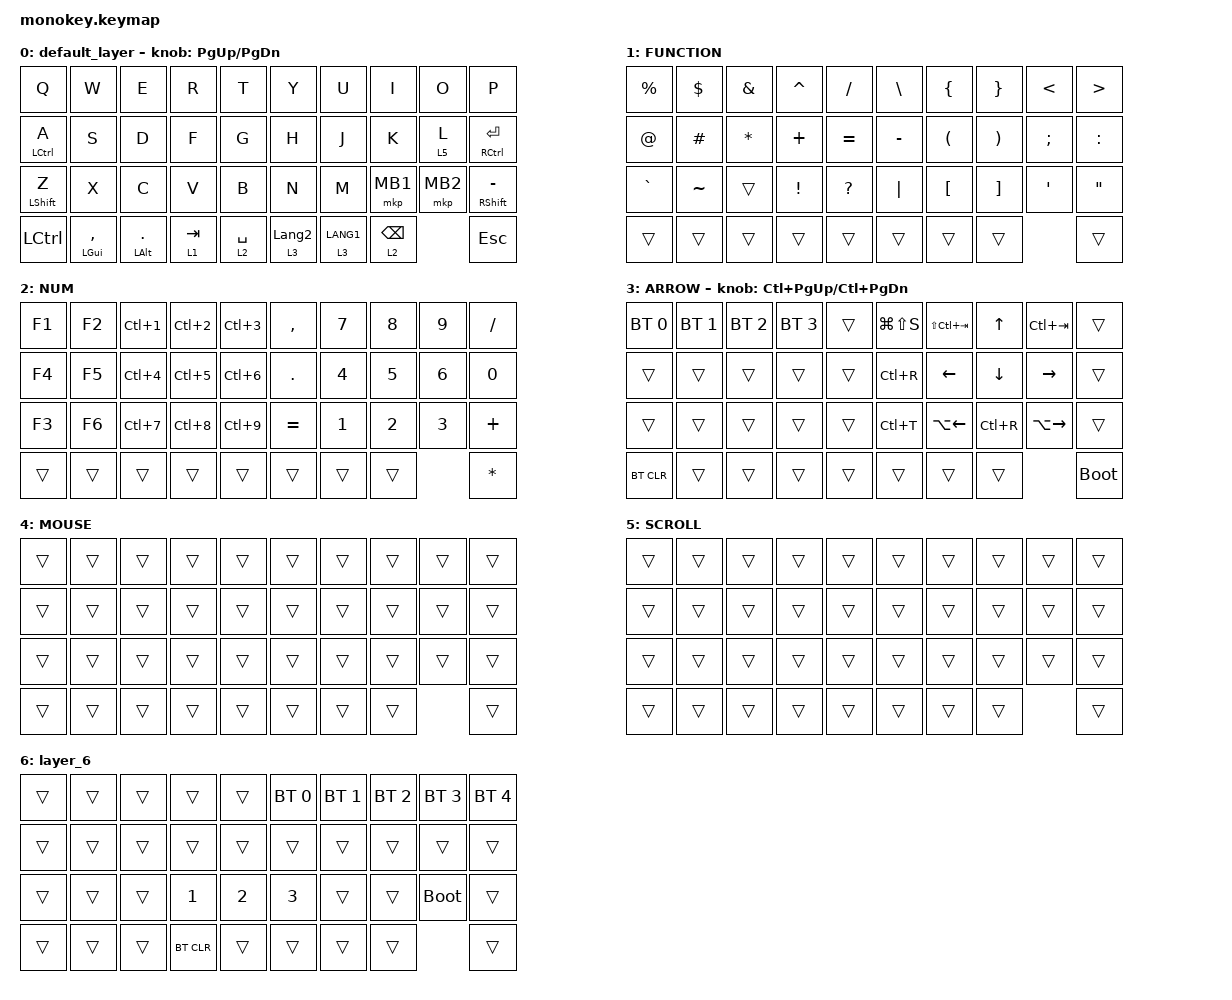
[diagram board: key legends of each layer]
#include <dt-bindings/zmk/mouse.h>
#include <behaviors.dtsi>
#include <dt-bindings/zmk/bt.h>
#include <dt-bindings/zmk/keys.h>
#include <dt-bindings/zmk/pointing.h>

#define MOUSE 4
#define SCROLL 5
#define NUM 6

&mt {
    flavor = "balanced";
    quick-tap-ms = <0>;
};

/ {
    combos {
        compatible = "zmk,combos";

        tab {
            bindings = <&kp TAB>;
            key-positions = <11 12>;
        };

        shift_tab {
            bindings = <&kp LS(TAB)>;
            key-positions = <12 13>;
        };

        muhennkann {
            bindings = <&to_layer_0 INT_MUHENKAN>;
            key-positions = <11 10>;
        };

        double_quotation {
            bindings = <&kp DOUBLE_QUOTES>;
            key-positions = <20 21>;
        };

        eq {
            bindings = <&kp EQUAL>;
            key-positions = <24 25>;
        };
    };

    macros {
        to_layer_0: to_layer_0 {
            compatible = "zmk,behavior-macro-one-param";
            #binding-cells = <1>;
            bindings = <&to 0 &macro_param_1to1 &kp MACRO_PLACEHOLDER>;
            label = "TO_LAYER_0";
        };
    };

    behaviors {
        lt_to_layer_0: lt_to_layer_0 {
            compatible = "zmk,behavior-hold-tap";
            label = "LAYER_TAP_TO_0";
            bindings = <&mo>, <&to_layer_0>;

            #binding-cells = <2>;
            tapping-term-ms = <200>;
        };
    };

    keymap {
        compatible = "zmk,keymap";

        default_layer {
            bindings = <
&kp Q             &kp W               &kp E                &kp R      &kp T                            &kp Y                   &kp U            &kp I     &kp O               &kp P
&mt LCTRL A       &kp S               &kp D                &kp F      &kp G                            &kp H                   &kp J            &kp K     &lt_to_layer_0 5 L  &mt RCTRL ENTER
&mt LEFT_SHIFT Z  &kp X               &kp C                &kp V      &kp B                            &kp N                   &kp M            &mkp MB1  &mkp MB2            &mt RIGHT_SHIFT MINUS
&kp LCTRL         &mt LEFT_GUI COMMA  &mt LEFT_ALT PERIOD  &lt 1 TAB  &lt 2 SPACE  &lt 3 LANGUAGE_2    &lt_to_layer_0 3 LANG1  &lt 2 BACKSPACE                                &kp ESC
            >;

            sensor-bindings = <&inc_dec_kp PG_UP PAGE_DOWN>;
        };

        FUNCTION {
            bindings = <
&kp PERCENT  &kp DOLLAR  &kp AMPERSAND  &kp CARET  &kp SLASH               &kp BACKSLASH  &kp LEFT_BRACE        &kp RIGHT_BRACE        &kp LESS_THAN     &kp GREATER_THAN
&kp AT       &kp HASH    &kp ASTRK      &kp PLUS   &kp EQUAL               &kp MINUS      &kp LEFT_PARENTHESIS  &kp RIGHT_PARENTHESIS  &kp SEMICOLON     &kp COLON
&kp GRAVE    &kp TILDE   &trans         &kp EXCL   &kp QUESTION            &kp PIPE       &kp LEFT_BRACKET      &kp RIGHT_BRACKET      &kp SINGLE_QUOTE  &kp DOUBLE_QUOTES
&trans       &trans      &trans         &trans     &trans        &trans    &trans         &trans                                                         &trans
            >;
        };

        NUM {
            bindings = <
&kp F1  &kp F2  &kp LC(NUMBER_1)  &kp LC(NUMBER_2)  &kp LC(NUMBER_3)            &kp COMMA   &kp NUMBER_7  &kp NUMBER_8  &kp NUMBER_9  &kp SLASH
&kp F4  &kp F5  &kp LC(NUMBER_4)  &kp LC(N5)        &kp LC(NUMBER_6)            &kp PERIOD  &kp NUMBER_4  &kp NUMBER_5  &kp NUMBER_6  &kp NUMBER_0
&kp F3  &kp F6  &kp LC(N7)        &kp LC(N8)        &kp LC(N9)                  &kp EQUAL   &kp NUMBER_1  &kp NUMBER_2  &kp NUMBER_3  &kp PLUS
&trans  &trans  &trans            &trans            &trans            &trans    &trans      &trans                                    &kp ASTRK
            >;
        };

        ARROW {
            bindings = <
&bt BT_SEL 0  &bt BT_SEL 1  &bt BT_SEL 2  &bt BT_SEL 3  &trans            &kp LG(LS(S))  &kp LS(LC(TAB))     &kp UP_ARROW    &kp LC(TAB)          &trans
&trans        &trans        &trans        &trans        &trans            &kp LC(R)      &kp LEFT_ARROW      &kp DOWN_ARROW  &kp RIGHT_ARROW      &trans
&trans        &trans        &trans        &trans        &trans            &kp LC(T)      &kp LA(LEFT_ARROW)  &kp LC(R)       &kp LA(RIGHT_ARROW)  &trans
&bt BT_CLR    &trans        &trans        &trans        &trans  &trans    &trans         &trans                                                   &bootloader
            >;

            sensor-bindings = <&inc_dec_kp LC(PAGE_UP) LC(PAGE_DOWN)>;
        };

        MOUSE {
            bindings = <
&trans  &trans  &trans  &trans  &trans            &trans  &trans  &trans  &trans  &trans
&trans  &trans  &trans  &trans  &trans            &trans  &trans  &trans  &trans  &trans
&trans  &trans  &trans  &trans  &trans            &trans  &trans  &trans  &trans  &trans
&trans  &trans  &trans  &trans  &trans  &trans    &trans  &trans                  &trans
            >;
        };

        SCROLL {
            bindings = <
&trans  &trans  &trans  &trans  &trans            &trans  &trans  &trans  &trans  &trans
&trans  &trans  &trans  &trans  &trans            &trans  &trans  &trans  &trans  &trans
&trans  &trans  &trans  &trans  &trans            &trans  &trans  &trans  &trans  &trans
&trans  &trans  &trans  &trans  &trans  &trans    &trans  &trans                  &trans
            >;
        };

        layer_6 {
            bindings = <
&trans  &trans  &trans  &trans        &trans                  &bt BT_SEL 0  &bt BT_SEL 1  &bt BT_SEL 2  &bt BT_SEL 3  &bt BT_SEL 4
&trans  &trans  &trans  &trans        &trans                  &trans        &trans        &trans        &trans        &trans
&trans  &trans  &trans  &kp NUMBER_1  &kp NUMBER_2            &kp NUMBER_3  &trans        &trans        &bootloader   &trans
&trans  &trans  &trans  &bt BT_CLR    &trans        &trans    &trans        &trans                                    &trans
            >;
        };
    };
};
